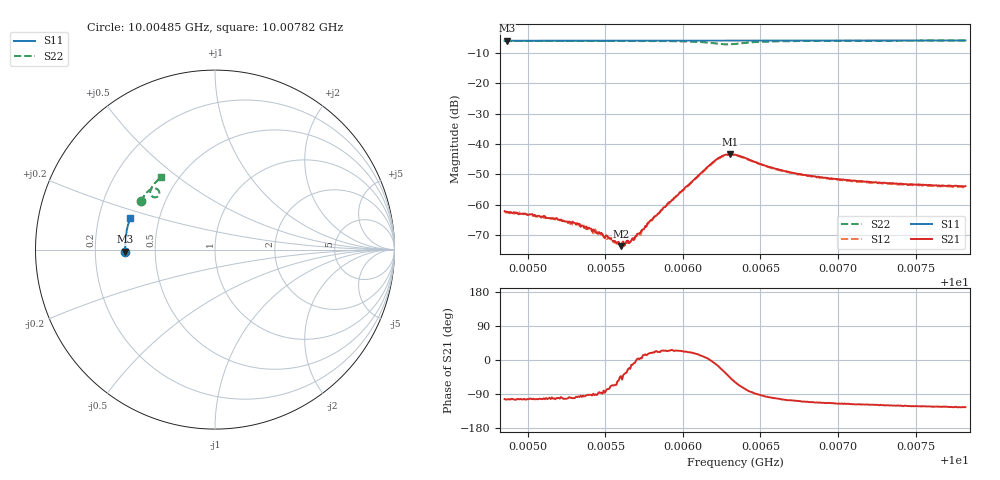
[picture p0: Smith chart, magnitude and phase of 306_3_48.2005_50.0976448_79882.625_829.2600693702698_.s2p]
#  HZ  S  RI  R  50.00
! Rohde & Schwarz Vector Network Analyzer
! Rohde-Schwarz,ZNB20-2Port,1311601062101988,3.16
! Created: UTC 3/20/2024, 11:49:47 AM
! freq[Hz]  re:S11  im:S11  re:S21  im:S21  re:S12  im:S12  re:S22  im:S22
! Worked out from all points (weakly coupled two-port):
!   401 points, 10.00485 GHz to 10.00782 GHz, reference 50 ohm
!   highest |S21| = -43.35 dB at 10.00631 GHz (marker M1); lowest = -73.6 dB at 10.0056 GHz (marker M2)
!   lowest |S11| = -6.0 dB at 10.00486 GHz (marker M3), VSWR 2.99, Z = 16.7 - j0.488 ohm
!   |S11| at or under -10 dB: nowhere
!   |S22| runs from -7.2 to -6.0 dB; largest |S21 - S12| = 0.0004
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1.000485e10  -0.4992 -0.0119  -0.000179 -0.00076  -0.000144 -0.000737  -0.4143 0.2692
1.0004865e10  -0.4992 -0.011  -0.000192 -0.000739  -0.000113 -0.000734  -0.4137 0.27
1.0004932e10  -0.4995 -0.00659  -0.000163 -0.000706  -0.000152 -0.000719  -0.4114 0.274
1.0005169e10  -0.4999 0.00904  -0.000113 -0.000572  -9.79e-05 -0.000585  -0.4027 0.288
1.0005348e10  -0.4998 0.0205  -5.85e-05 -0.000451  -4.19e-05 -0.000435  -0.3952 0.2986
1.0005444e10  -0.4998 0.0267  -1.48e-05 -0.000339  6.56e-06 -0.000358  -0.3909 0.3046
1.000557e10  -0.4994 0.0349  9.75e-05 -0.000215  0.000101 -0.000206  -0.3848 0.3123
1.0005585e10  -0.4995 0.0359  0.000142 -0.000199  0.00014 -0.000153  -0.384 0.3132
1.00056e10  -0.4996 0.0369  0.000154 -0.000142  0.000167 -0.000144  -0.3834 0.3141
1.0005608e10  -0.4994 0.0374  0.000145 -0.000184  0.000195 -0.000119  -0.383 0.3146
1.0005667e10  -0.4993 0.0412  0.000251 -5.73e-05  0.000247 -5.38e-05  -0.3797 0.3183
1.0005719e10  -0.4991 0.0445  0.000338 1.25e-05  0.000337 3.5e-05  -0.3764 0.3216
1.0005756e10  -0.499 0.0469  0.000427 0.000114  0.000417 0.000102  -0.3742 0.3239
1.0005845e10  -0.4985 0.0528  0.000673 0.000265  0.000665 0.000291  -0.3676 0.3296
1.0006194e10  -0.4958 0.0751  0.00498 -0.000514  0.0049 -0.000267  -0.3145 0.3296
1.0006254e10  -0.4953 0.0788  0.00569 -0.00281  0.00569 -0.00248  -0.3108 0.3088
1.0006306e10  -0.4949 0.0818  0.00459 -0.00502  0.00476 -0.00468  -0.3237 0.2934
1.0006336e10  -0.4947 0.0837  0.00349 -0.00568  0.0037 -0.00537  -0.3346 0.2907
1.0006573e10  -0.493 0.099  -0.000688 -0.00403  -0.000492 -0.00393  -0.3603 0.3274
1.0006833e10  -0.4899 0.1156  -0.00108 -0.00275  -0.000927 -0.00275  -0.3495 0.352
1.0007331e10  -0.4826 0.1467  -0.00114 -0.00196  -0.00103 -0.00196  -0.3245 0.3814
1.0007821e10  -0.4733 0.1769  -0.00114 -0.00166  -0.00104 -0.00164  -0.2998 0.4044
